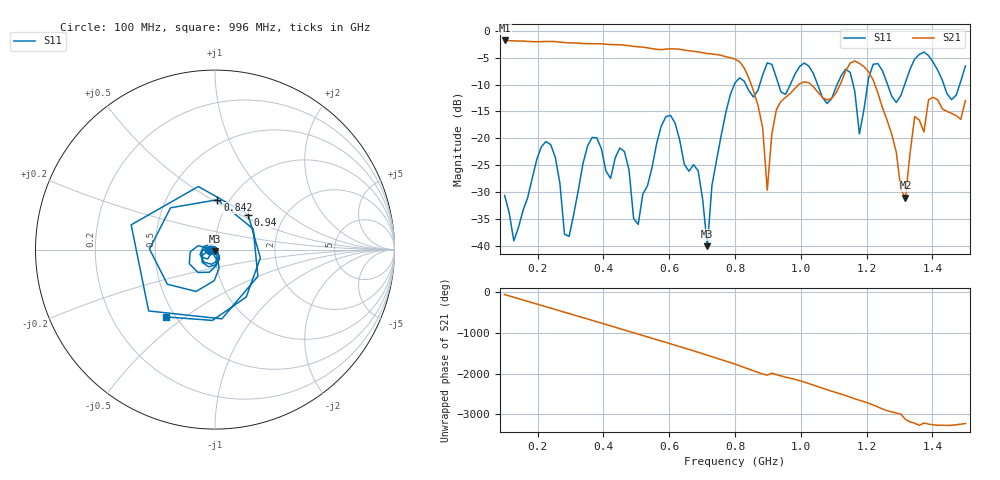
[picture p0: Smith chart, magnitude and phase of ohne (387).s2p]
! NanoVNA-App
! Date: 2025-09-25 14:23:48
! Start: 100MHz Stop: 1,5GHz Points: 101
! S-Parameter data: F S11 S21 S12 S22
# Hz S RI R 50
!  Frequency  S11_Real  S11_Imag  S21_Real  S21_Imag  S12_Real  S12_Imag  S22_Real  S22_Imag
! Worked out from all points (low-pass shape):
!   101 points, 100 MHz to 1.5 GHz, reference 50 ohm
!   highest |S21| = -1.79 dB at 100 MHz (marker M1); lowest = -31.1 dB at 1.318 GHz (marker M2)
!   |S21| within 3 dB of the highest: start of sweep to 770.9 MHz
!   lowest |S11| = -40.1 dB at 716 MHz (marker M3), VSWR 1.02, Z = 49.8 - j0.961 ohm
!   |S11| at or under -10 dB: start of sweep to 797.9 MHz; 833.1 MHz to 875.1 MHz (42.02 MHz wide, 4.92 % of centre); 1.051 GHz to 1.111 GHz (59.54 MHz wide, 5.51 % of centre)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
!   S12 and S22 are empty: the file has one direction only
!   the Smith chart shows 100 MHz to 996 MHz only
!   S11 on the Smith chart (normalised r, x): 100 MHz: 0.94, -0.01; 842 MHz: 0.88, +0.53; 940 MHz: 1.32, +0.56; 996 MHz: 0.45, -0.43
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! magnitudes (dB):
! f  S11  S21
! 100 MHz  -30.6  -1.8
! 128 MHz  -39.1  -1.9
! 226 MHz  -20.6  -2.0
! 296 MHz  -38.3  -2.2
! 338 MHz  -24.7  -2.4
! 464 MHz  -22.5  -2.7
! 506 MHz  -36.0  -3.0
! 576 MHz  -17.7  -3.5
! 688 MHz  -26.0  -3.9
! 716 MHz  -40.1  -4.2
! 800 MHz  -9.7  -5.3
! 842 MHz  -11.1  -8.8
! 898 MHz  -6.0  -29.7
! 940 MHz  -11.4  -13.1
! 996 MHz  -6.7  -9.9
! 1.038 GHz  -7.9  -10.4
! 1.178 GHz  -19.2  -6.1
! 1.22 GHz  -6.2  -9.2
! 1.276 GHz  -12.1  -19.2
! 1.318 GHz  -9.6  -31.1
! 1.346 GHz  -5.3  -16.0
! 1.5 GHz  -6.5  -13.0
